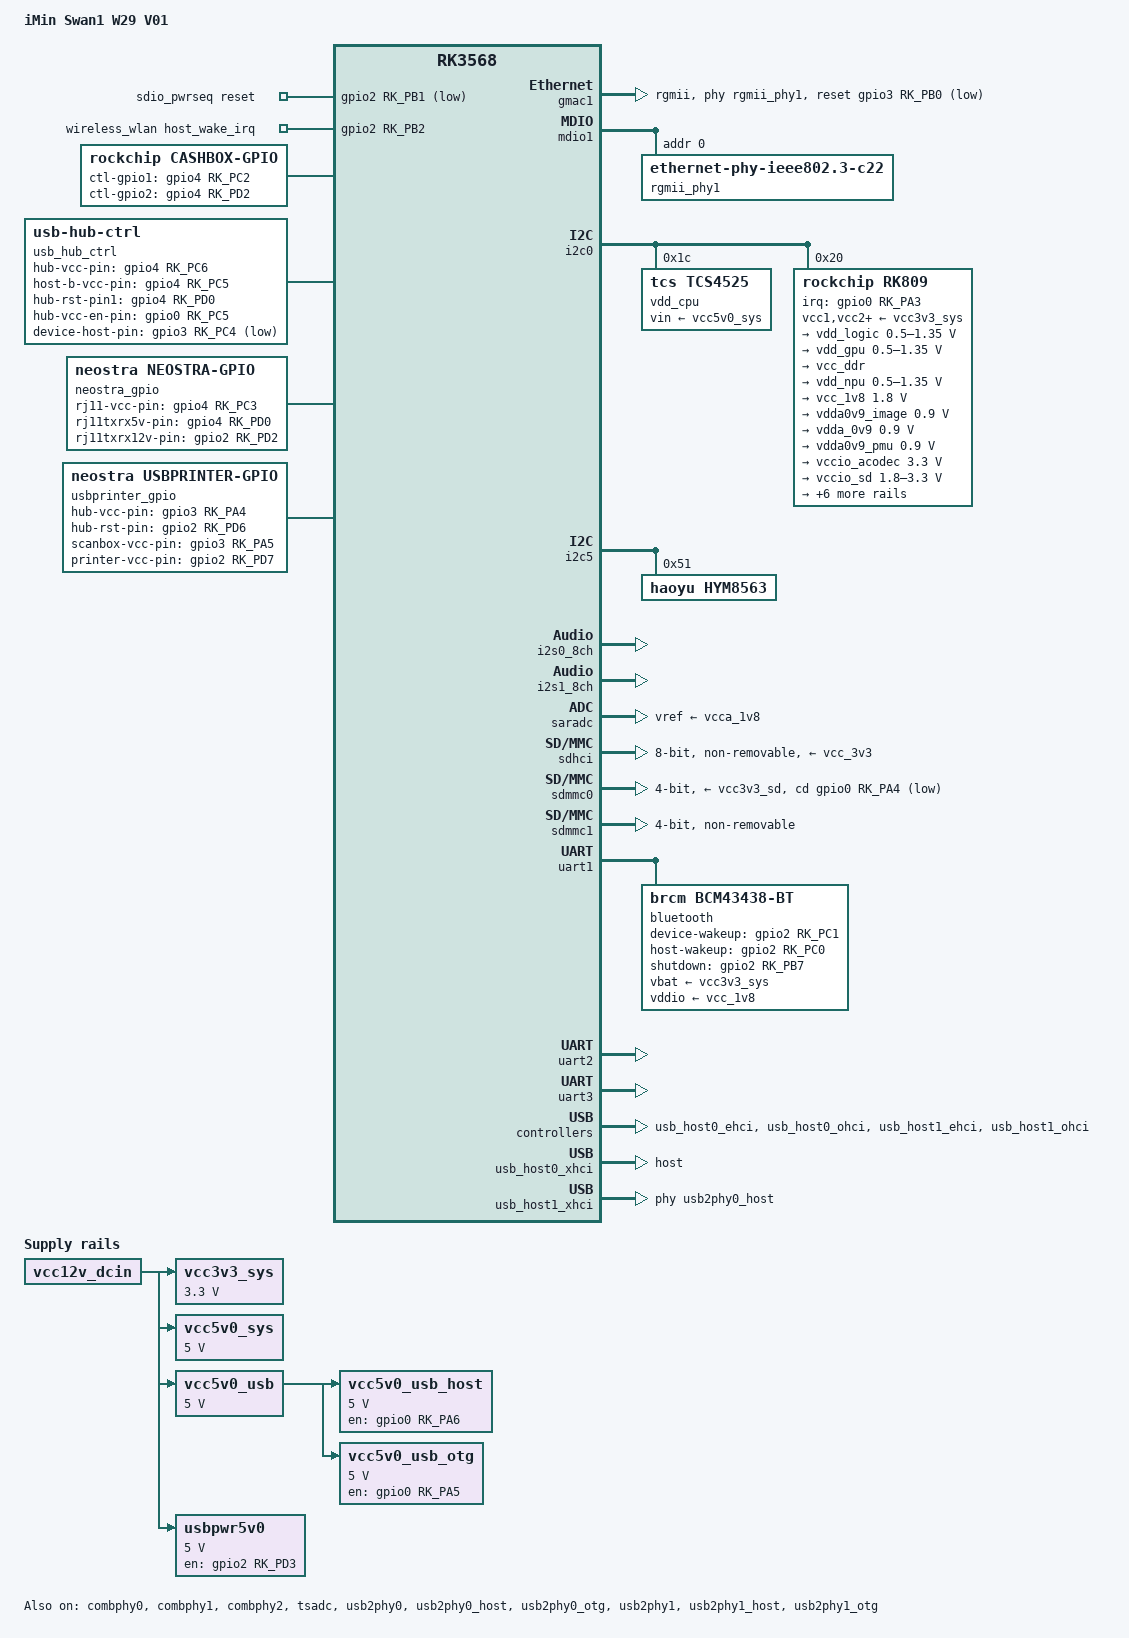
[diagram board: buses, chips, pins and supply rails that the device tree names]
// SPDX-License-Identifier: (GPL-2.0+ OR MIT)
/*
 * Copyright (c) 2024 dy008 <dy008@163.com>
 */

/dts-v1/;
#include <dt-bindings/gpio/gpio.h>
#include <dt-bindings/leds/common.h>
#include <dt-bindings/pinctrl/rockchip.h>
#include <dt-bindings/soc/rockchip,vop2.h>
#include "rk3568.dtsi"

/ {
	model = "iMin Swan1 W29 V01";
	compatible = "imin,swan1", "rockchip,rk3568";

	aliases {
		ethernet0 = &gmac0;
		ethernet1 = &gmac1;
		mmc0 = &sdmmc0;
		mmc1 = &sdhci;
	};

	chosen: chosen {
		stdout-path = "serial2:1500000n8";
	};

	rk809-sound {
		compatible = "simple-audio-card";
		simple-audio-card,format = "i2s";
		simple-audio-card,name = "Analog RK809";
		simple-audio-card,mclk-fs = <256>;

		simple-audio-card,cpu {
			sound-dai = <&i2s1_8ch>;
		};

		simple-audio-card,codec {
			sound-dai = <&rk809>;
		};
	};

	vcc12v_dcin: vcc12v-dcin {
		compatible = "regulator-fixed";
		regulator-name = "vcc12v_dcin";
		regulator-always-on;
		regulator-boot-on;
	};

	vcc3v3_sys: vcc3v3-sys {
		compatible = "regulator-fixed";
		regulator-name = "vcc3v3_sys";
		regulator-always-on;
		regulator-boot-on;
		regulator-min-microvolt = <3300000>;
		regulator-max-microvolt = <3300000>;
		vin-supply = <&vcc12v_dcin>;
	};

	vcc5v0_sys: vcc5v0-sys {
		compatible = "regulator-fixed";
		regulator-name = "vcc5v0_sys";
		regulator-always-on;
		regulator-boot-on;
		regulator-min-microvolt = <5000000>;
		regulator-max-microvolt = <5000000>;
		vin-supply = <&vcc12v_dcin>;
	};

	vcc5v0_usb: vcc5v0-usb {
		compatible = "regulator-fixed";
		regulator-name = "vcc5v0_usb";
		regulator-always-on;
		regulator-boot-on;
		regulator-min-microvolt = <5000000>;
		regulator-max-microvolt = <5000000>;
		vin-supply = <&vcc12v_dcin>;
	};

	vcc5v0_usb_host: vcc5v0-usb-host {
		compatible = "regulator-fixed";
		enable-active-high;
		gpio = <&gpio0 RK_PA6 GPIO_ACTIVE_HIGH>;
		pinctrl-names = "default";
		pinctrl-0 = <&vcc5v0_usb_host_en>;
		regulator-name = "vcc5v0_usb_host";
		regulator-min-microvolt = <5000000>;
		regulator-max-microvolt = <5000000>;
		vin-supply = <&vcc5v0_usb>;
	};

	vcc5v0_usb_otg: vcc5v0-usb-otg-regulator {
		compatible = "regulator-fixed";
		enable-active-high;
		gpio = <&gpio0 RK_PA5 GPIO_ACTIVE_HIGH>;
		pinctrl-names = "default";
		pinctrl-0 = <&vcc5v0_usb_otg_en>;
		regulator-name = "vcc5v0_usb_otg";
		regulator-min-microvolt = <5000000>;
		regulator-max-microvolt = <5000000>;
		vin-supply = <&vcc5v0_usb>;
	};

	sdio_pwrseq: sdio-pwrseq {
		status = "okay";
		compatible = "mmc-pwrseq-simple";
		clocks = <&rk809 1>;
		clock-names = "ext_clock";
		post-power-on-delay-ms = <0xc8>;
		power-off-delay-us = <0xc8>;
		pinctrl-names = "default";
		pinctrl-0 = <&wifi_reg_on_h>;
		reset-gpios = <&gpio2 RK_PB1 GPIO_ACTIVE_LOW>;
	};

	wireless_wlan: wireless-wlan {
		compatible = "wlan-platdata";
		rockchip,grf = <&grf>;
		wifi_chip_type = "ap6255";
		status = "okay";
		pinctrl-names = "default";
		pinctrl-0 = <&wifi_host_wake_h>;
		sdio_vref = <0x708>;
		WIFI,host_wake_irq = <&gpio2 RK_PB2 GPIO_ACTIVE_HIGH>;
	};

	cashbox: cashbox {
		compatible = "rockchip,cashbox-gpio";
		pinctrl-names = "default";
		pinctrl-0 = <&cashbox_gpio_en>;
		ctl-gpio1 = <&gpio4 RK_PC2 GPIO_ACTIVE_HIGH>;
		ctl-gpio2 = <&gpio4 RK_PD2 GPIO_ACTIVE_HIGH>;
		status = "okay";
	};

	usb_hub_ctrl: usb-hub-ctrl {
		compatible = "usb-hub-ctrl";
		pinctrl-names = "default";
		pinctrl-0 = <&hub_vcc_en_pin>;
		hub-vcc-pin = <&gpio4 RK_PC6 GPIO_ACTIVE_HIGH>;
		host-b-vcc-pin = <&gpio4 RK_PC5 GPIO_ACTIVE_HIGH>;
		hub-rst-pin1 = <&gpio4 RK_PD0 GPIO_ACTIVE_HIGH>;
		hub-vcc-en-pin = <&gpio0 RK_PC5 GPIO_ACTIVE_HIGH>;
		device-host-pin = <&gpio3 RK_PC4 GPIO_ACTIVE_LOW>;
		status = "okay";
	};

	neostra_gpio: neostra-gpio {
		compatible = "neostra,neostra-gpio";
		pinctrl-names = "default";
		rj11-vcc-pin = <&gpio4 RK_PC3 GPIO_ACTIVE_HIGH>;
		rj11txrx5v-pin = <&gpio4 RK_PD0 GPIO_ACTIVE_HIGH>;
		rj11txrx12v-pin = <&gpio2 RK_PD2 GPIO_ACTIVE_HIGH>;
		status = "okay";
	};

	usbprinter_gpio: usbprinter-gpio {
		compatible = "neostra,usbprinter-gpio";
		pinctrl-names = "default";
		pinctrl-0 = <&usbprinter_pin>;
		hub-vcc-pin = <&gpio3 RK_PA4 GPIO_ACTIVE_HIGH>;
		hub-rst-pin = <&gpio2 RK_PD6 GPIO_ACTIVE_HIGH>;
		scanbox-vcc-pin = <&gpio3 RK_PA5 GPIO_ACTIVE_HIGH>;
		printer-vcc-pin = <&gpio2 RK_PD7 GPIO_ACTIVE_HIGH>;
		status = "okay";
	};

	usbpwr5v0: usbpwr5v0 {
		compatible = "regulator-fixed";
		enable-active-high;
		gpio = <&gpio2 RK_PD3 GPIO_ACTIVE_HIGH>;	//<0x02 0x1b 0x00>
		pinctrl-names = "default";
		pinctrl-0 = <&usbpwr5v0_en>;
		regulator-name = "usbpwr5v0";
		regulator-always-on;
		regulator-boot-on;
		regulator-min-microvolt = <0x4c4b40>;
		regulator-max-microvolt = <0x4c4b40>;
		vin-supply = <&vcc12v_dcin>;
	};

};

&combphy0 {
	status = "okay";
};

&combphy1 {
	status = "okay";
};

&combphy2 {
	status = "okay";
};

&cpu0 {
	cpu-supply = <&vdd_cpu>;
};

&cpu1 {
	cpu-supply = <&vdd_cpu>;
};

&cpu2 {
	cpu-supply = <&vdd_cpu>;
};

&cpu3 {
	cpu-supply = <&vdd_cpu>;
};

&gmac1 {
	assigned-clocks = <&cru SCLK_GMAC1_RX_TX>, <&cru SCLK_GMAC1>;
	assigned-clock-parents = <&cru SCLK_GMAC1_RGMII_SPEED>;
	assigned-clock-rates = <0>, <125000000>;
	clock_in_out = "output";
	phy-mode = "rgmii";
	pinctrl-names = "default";
	pinctrl-0 = <&gmac1m1_miim
		     &gmac1m1_tx_bus2
		     &gmac1m1_rx_bus2
		     &gmac1m1_rgmii_clk
		     &gmac1m1_rgmii_bus>;
	snps,reset-gpio = <&gpio3 RK_PB0 GPIO_ACTIVE_LOW>;
	snps,reset-active-low;
	/* Reset time is 20ms, 100ms for rtl8211f */
	snps,reset-delays-us = <0 20000 100000>;
	tx_delay = <0x42>;
	rx_delay = <0x28>;
	phy-handle = <&rgmii_phy1>;
	status = "okay";
};

&mdio1 {
	rgmii_phy1: ethernet-phy@0 {
		compatible = "ethernet-phy-ieee802.3-c22";
		reg = <0>;
		realtek,led-data = <0x6d60>;
	};
};

&i2c0 {
	status = "okay";

	vdd_cpu: regulator@1c {
		compatible = "tcs,tcs4525";
		reg = <0x1c>;
		fcs,suspend-voltage-selector = <1>;
		regulator-name = "vdd_cpu";
		regulator-always-on;
		regulator-boot-on;
		regulator-min-microvolt = <800000>;
		regulator-max-microvolt = <1150000>;
		regulator-ramp-delay = <2300>;
		vin-supply = <&vcc5v0_sys>;

		regulator-state-mem {
			regulator-off-in-suspend;
		};
	};

	rk809: pmic@20 {
		compatible = "rockchip,rk809";
		reg = <0x20>;
		interrupt-parent = <&gpio0>;
		interrupts = <RK_PA3 IRQ_TYPE_LEVEL_LOW>;
		assigned-clocks = <&cru I2S1_MCLKOUT_TX>;
		assigned-clock-parents = <&cru CLK_I2S1_8CH_TX>;
		#clock-cells = <1>;
		clock-names = "mclk";
		clocks = <&cru I2S1_MCLKOUT_TX>;
		pinctrl-names = "default";
		pinctrl-0 = <&pmic_int>, <&i2s1m0_mclk>;
		rockchip,system-power-controller;
		#sound-dai-cells = <0>;
		vcc1-supply = <&vcc3v3_sys>;
		vcc2-supply = <&vcc3v3_sys>;
		vcc3-supply = <&vcc3v3_sys>;
		vcc4-supply = <&vcc3v3_sys>;
		vcc5-supply = <&vcc3v3_sys>;
		vcc6-supply = <&vcc3v3_sys>;
		vcc7-supply = <&vcc3v3_sys>;
		vcc8-supply = <&vcc3v3_sys>;
		vcc9-supply = <&vcc3v3_sys>;
		wakeup-source;

		regulators {
			vdd_logic: DCDC_REG1 {
				regulator-name = "vdd_logic";
				regulator-always-on;
				regulator-boot-on;
				regulator-init-microvolt = <900000>;
				regulator-initial-mode = <0x2>;
				regulator-min-microvolt = <500000>;
				regulator-max-microvolt = <1350000>;
				regulator-ramp-delay = <6001>;

				regulator-state-mem {
					regulator-off-in-suspend;
				};
			};

			vdd_gpu: DCDC_REG2 {
				regulator-name = "vdd_gpu";
				regulator-always-on;
				regulator-init-microvolt = <900000>;
				regulator-initial-mode = <0x2>;
				regulator-min-microvolt = <500000>;
				regulator-max-microvolt = <1350000>;
				regulator-ramp-delay = <6001>;

				regulator-state-mem {
					regulator-off-in-suspend;
				};
			};

			vcc_ddr: DCDC_REG3 {
				regulator-name = "vcc_ddr";
				regulator-always-on;
				regulator-boot-on;
				regulator-initial-mode = <0x2>;

				regulator-state-mem {
					regulator-on-in-suspend;
				};
			};

			vdd_npu: DCDC_REG4 {
				regulator-name = "vdd_npu";
				regulator-init-microvolt = <900000>;
				regulator-initial-mode = <0x2>;
				regulator-min-microvolt = <500000>;
				regulator-max-microvolt = <1350000>;
				regulator-ramp-delay = <6001>;

				regulator-state-mem {
					regulator-off-in-suspend;
				};
			};

			vcc_1v8: DCDC_REG5 {
				regulator-name = "vcc_1v8";
				regulator-always-on;
				regulator-boot-on;
				regulator-min-microvolt = <1800000>;
				regulator-max-microvolt = <1800000>;

				regulator-state-mem {
					regulator-off-in-suspend;
				};
			};

			vdda0v9_image: LDO_REG1 {
				regulator-name = "vdda0v9_image";
				regulator-min-microvolt = <900000>;
				regulator-max-microvolt = <900000>;

				regulator-state-mem {
					regulator-off-in-suspend;
				};
			};

			vdda_0v9: LDO_REG2 {
				regulator-name = "vdda_0v9";
				regulator-always-on;
				regulator-boot-on;
				regulator-min-microvolt = <900000>;
				regulator-max-microvolt = <900000>;

				regulator-state-mem {
					regulator-off-in-suspend;
				};
			};

			vdda0v9_pmu: LDO_REG3 {
				regulator-name = "vdda0v9_pmu";
				regulator-always-on;
				regulator-boot-on;
				regulator-min-microvolt = <900000>;
				regulator-max-microvolt = <900000>;

				regulator-state-mem {
					regulator-on-in-suspend;
					regulator-suspend-microvolt = <900000>;
				};
			};

			vccio_acodec: LDO_REG4 {
				regulator-name = "vccio_acodec";
				regulator-always-on;
				regulator-min-microvolt = <3300000>;
				regulator-max-microvolt = <3300000>;

				regulator-state-mem {
					regulator-off-in-suspend;
				};
			};

			vccio_sd: LDO_REG5 {
				regulator-name = "vccio_sd";
				regulator-min-microvolt = <1800000>;
				regulator-max-microvolt = <3300000>;

				regulator-state-mem {
					regulator-off-in-suspend;
				};
			};

			vcc3v3_pmu: LDO_REG6 {
				regulator-name = "vcc3v3_pmu";
				regulator-always-on;
				regulator-boot-on;
				regulator-min-microvolt = <3300000>;
				regulator-max-microvolt = <3300000>;

				regulator-state-mem {
					regulator-on-in-suspend;
					regulator-suspend-microvolt = <3300000>;
				};
			};

			vcca_1v8: LDO_REG7 {
				regulator-name = "vcca_1v8";
				regulator-always-on;
				regulator-boot-on;
				regulator-min-microvolt = <1800000>;
				regulator-max-microvolt = <1800000>;

				regulator-state-mem {
					regulator-off-in-suspend;
				};
			};

			vcca1v8_pmu: LDO_REG8 {
				regulator-name = "vcca1v8_pmu";
				regulator-always-on;
				regulator-boot-on;
				regulator-min-microvolt = <1800000>;
				regulator-max-microvolt = <1800000>;

				regulator-state-mem {
					regulator-on-in-suspend;
					regulator-suspend-microvolt = <1800000>;
				};
			};

			vcca1v8_image: LDO_REG9 {
				regulator-name = "vcca1v8_image";
				regulator-min-microvolt = <1800000>;
				regulator-max-microvolt = <1800000>;

				regulator-state-mem {
					regulator-off-in-suspend;
				};
			};

			vcc_3v3: SWITCH_REG1 {
				regulator-name = "vcc_3v3";
				regulator-always-on;
				regulator-boot-on;

				regulator-state-mem {
					regulator-off-in-suspend;
				};
			};

			vcc3v3_sd: SWITCH_REG2 {
				regulator-name = "vcc3v3_sd";

				regulator-state-mem {
					regulator-off-in-suspend;
				};
			};
		};

		codec {
			mic-in-differential;
		};
	};
};

&i2c5 {
	status = "okay";

	hym8563@51 {
		compatible = "haoyu,hym8563";
		status = "okay";
		reg = <0x51>;
	};
};

&i2s0_8ch {
	status = "okay";
};

&i2s1_8ch {
	pinctrl-names = "default";
	pinctrl-0 = <&i2s1m0_sclktx &i2s1m0_lrcktx &i2s1m0_sdi0 &i2s1m0_sdo0>;
	rockchip,trcm-sync-tx-only;
	status = "okay";
};

&pmu_io_domains {
	pmuio1-supply = <&vcc3v3_pmu>;
	pmuio2-supply = <&vcc3v3_pmu>;
	vccio1-supply = <&vccio_acodec>;
	vccio2-supply = <&vcc_1v8>;
	vccio3-supply = <&vccio_sd>;
	vccio4-supply = <&vcc_1v8>;
	vccio5-supply = <&vcc_3v3>;
	vccio6-supply = <&vcc_1v8>;
	vccio7-supply = <&vcc_3v3>;
	status = "okay";
};

&saradc {
	vref-supply = <&vcca_1v8>;
	status = "okay";
};

&sdhci {
	bus-width = <8>;
	max-frequency = <200000000>;
	non-removable;
	pinctrl-names = "default";
	pinctrl-0 = <&emmc_bus8 &emmc_clk &emmc_cmd &emmc_datastrobe>;
	vmmc-supply = <&vcc_3v3>;
	vqmmc-supply = <&vcc_1v8>;
	status = "okay";
};

&sdmmc0 {
	bus-width = <4>;
	cap-sd-highspeed;
	cd-gpios = <&gpio0 RK_PA4 GPIO_ACTIVE_LOW>;
	disable-wp;
	pinctrl-names = "default";
	pinctrl-0 = <&sdmmc0_bus4 &sdmmc0_clk &sdmmc0_cmd &sdmmc0_det>;
	sd-uhs-sdr50;
	vmmc-supply = <&vcc3v3_sd>;
	vqmmc-supply = <&vccio_sd>;
	status = "okay";
};

&sdmmc1 {
    max-frequency = <150000000>;
    supports-sdio;
    bus-width = <4>;
    disable-wp;
    cap-sd-highspeed;
    cap-sdio-irq;
    keep-power-in-suspend;
    pinctrl-names = "default";
    pinctrl-0 = <&sdmmc1_bus4 &sdmmc1_cmd &sdmmc1_clk>;
    sd-uhs-sdr104;
    mmc-pwrseq = <&sdio_pwrseq>;
    non-removable;
    status = "okay";
};

&tsadc {
	rockchip,hw-tshut-mode = <1>;
	rockchip,hw-tshut-polarity = <0>;
	status = "okay";
};

&uart1 {
	pinctrl-names = "default";
 	pinctrl-0 = <&uart1m0_xfer &uart1m0_ctsn &uart1m0_rtsn>;
 	uart-has-rtscts;
 	status = "okay";
 
 	bluetooth {
 		compatible = "brcm,bcm43438-bt";
 		clocks = <&rk809 1>;
 		clock-names = "lpo";
		device-wakeup-gpios = <&gpio2 RK_PC1 GPIO_ACTIVE_HIGH>;
		host-wakeup-gpios = <&gpio2 RK_PC0 GPIO_ACTIVE_HIGH>;
		shutdown-gpios = <&gpio2 RK_PB7 GPIO_ACTIVE_HIGH>;
 		pinctrl-names = "default";
 		pinctrl-0 = <&bt_host_wake &bt_wake &bt_enable>;
 		vbat-supply = <&vcc3v3_sys>;
 		vddio-supply = <&vcc_1v8>;
 	};
};

&uart2 {
	status = "okay";
};

&uart3 {
	status = "okay";
};

&usb_host0_ehci {
	status = "okay";
};

&usb_host0_ohci {
	status = "okay";
};

&usb_host0_xhci {
	extcon = <&usb2phy0>;
	dr_mode = "host";
	status = "okay";
};

&usb_host1_ehci {
	status = "okay";
};

&usb_host1_ohci {
	status = "okay";
};

&usb_host1_xhci {
	phys = <&usb2phy0_host>;
	phy-names = "usb2-phy";
	maximum-speed = "high-speed";
	extcon = <&usb2phy0>;
	status = "okay";
};

&usb2phy0 {
	status = "okay";
};

&usb2phy0_host {
	phy-supply = <&vcc5v0_usb_host>;
	status = "okay";
};

&usb2phy0_otg {
	phy-supply = <&vcc5v0_usb_otg>;
	status = "okay";
};

&usb2phy1 {
	status = "okay";
};

&usb2phy1_host {
	phy-supply = <&vcc5v0_usb_host>;
	status = "okay";
};

&usb2phy1_otg {
	phy-supply = <&vcc5v0_usb_otg>;
	status = "okay";
};

&pinctrl {

	ethernet {
		eth_phy_rst: eth_phy_rst {	//<0x03 0x08 0x00 0x13f>;
			rockchip,pins = <3 RK_PB0 RK_FUNC_GPIO &pcfg_pull_none>;
		};
	};

	pmic {
		pmic_int: pmic_int {
			rockchip,pins =
				<0 RK_PA3 RK_FUNC_GPIO &pcfg_pull_up>;
		};
	};

	usb {
		vcc5v0_usb_host_en: vcc5v0_usb_host_en {	//<0x00 0x06 0x00 0x13f>;
			rockchip,pins = <0 RK_PA6 RK_FUNC_GPIO &pcfg_pull_none>;
		};

		vcc5v0_usb_otg_en: vcc5v0_usb_otg_en {	//<0x00 0x05 0x00 0x13f>;
			rockchip,pins = <0 RK_PA5 RK_FUNC_GPIO &pcfg_pull_none>;
		};
	};

	bt {
		bt_enable: bt_enable {
			rockchip,pins = <2 RK_PB7 RK_FUNC_GPIO &pcfg_pull_none>;
		};

		bt_host_wake: bt_host_wake {
			rockchip,pins = <2 RK_PC0 RK_FUNC_GPIO &pcfg_pull_none>;
		};

		bt_wake: bt_wake {
			rockchip,pins = <2 RK_PC1 RK_FUNC_GPIO &pcfg_pull_none>;
		};
	};
	
	wifi {
		wifi_reg_on_h: wifi_reg_on_h {
			rockchip,pins = <2 RK_PB1 RK_FUNC_GPIO &pcfg_pull_none>;
		};

		wifi_host_wake_h: wifi_host_wake_h {
			rockchip,pins = <2 RK_PB2 RK_FUNC_GPIO &pcfg_pull_down>;
		};
	};

	cashbox {
		cashbox_gpio_en: cashbox_gpio_en {	//<0x04 0x12 0x00 0x13f 0x04 0x1a 0x00 0x13f>
			rockchip,pins = <4 RK_PC2 RK_FUNC_GPIO &pcfg_pull_none>,
							<4 RK_PD2 RK_FUNC_GPIO &pcfg_pull_none>;
		};
	};

	usb_hub_ctrl {
		hub_vcc_en_pin: hub_vcc_en_pin {	//<0x00 0x15 0x00 0x13f 0x04 0x18 0x00 0x13f 0x04 0x19 0x00 0x13f>;
			rockchip,pins = <0 RK_PC5 RK_FUNC_GPIO &pcfg_pull_none>,
							<4 RK_PD0 RK_FUNC_GPIO &pcfg_pull_none>,
							<4 RK_PD1 RK_FUNC_GPIO &pcfg_pull_none>;
		};
	};

	usbprinter_gpio {
			usbprinter_pin: usbprinter_pin {	//<0x03 0x04 0x00 0x13f 0x02 0x1e 0x00 0x13f 0x03 0x13 0x00 0x13f 0x02 0x1f 0x00 0x13f>;
				rockchip,pins = <3 RK_PA4 RK_FUNC_GPIO &pcfg_pull_none>,
								<2 RK_PD6 RK_FUNC_GPIO &pcfg_pull_none>,
								<3 RK_PC3 RK_FUNC_GPIO &pcfg_pull_none>,
								<2 RK_PD7 RK_FUNC_GPIO &pcfg_pull_none>;
			};
		};

	usbpwr5v0 {

		usbpwr5v0_en: usbpwr5v0_en {	//<0x02 0x1b 0x00 0x13f>;
			rockchip,pins = <0x02 RK_PD3 RK_FUNC_GPIO &pcfg_pull_none>;
		};
	};

};
